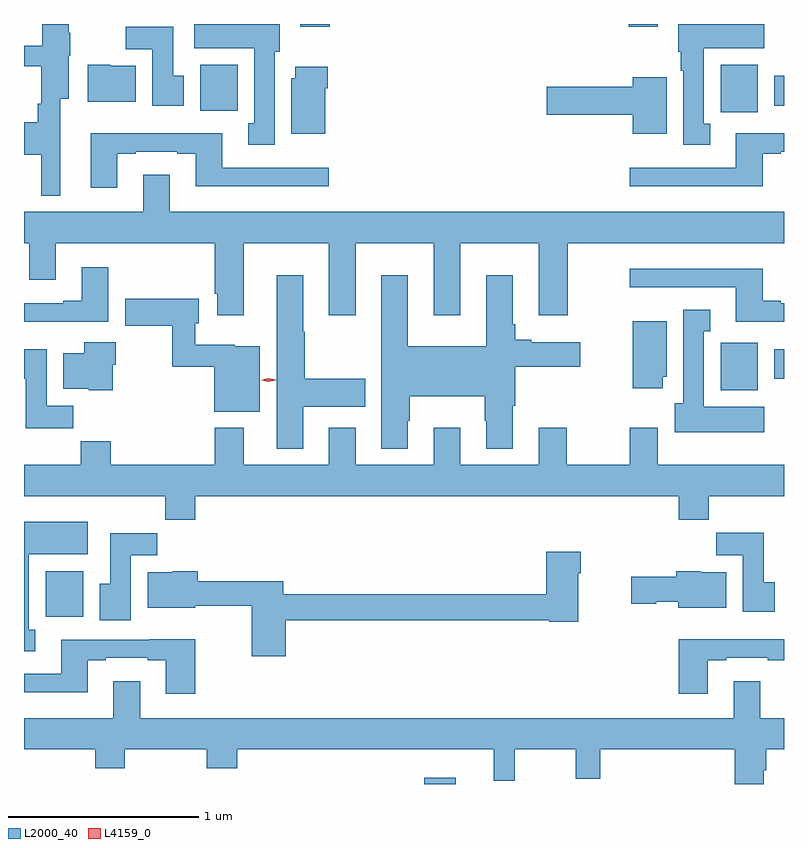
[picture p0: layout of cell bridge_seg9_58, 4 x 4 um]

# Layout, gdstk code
import gdstk
lib = gdstk.Library(unit=1e-6, precision=1e-09)
def R(c, l, rs):  # rectangles x0, y0, x1, y1
    for r in rs: c.add(gdstk.rectangle(r[:2], r[2:], *l))
def P(c, l, *ps):  # polygons
    for p in ps: c.add(gdstk.Polygon(p, *l))
L2000_40 = (2000, 40)
L4159_0 = (4159, 0)

bridge_seg9_58 = lib.new_cell('bridge_seg9_58')
R(bridge_seg9_58, L2000_40, [(1097.09,1209.557,1097.257,1209.589), (1095.098,1210.436,1095.295,1210.678), (1098.651,1211.63,1098.847,1211.88), (1098.932,1211.689,1098.984,1211.845), (1098.651,1213.092,1098.847,1213.342), (1095.911,1213.1,1096.108,1213.342), (1098.932,1213.128,1098.984,1213.284), (1096.439,1213.542,1096.592,1213.557), (1098.167,1213.542,1098.319,1213.557)])
P(bridge_seg9_58, L2000_40, [(1096.303,1213.41),(1096.33,1213.41),(1096.33,1213.557),(1095.879,1213.557),(1095.879,1213.43),(1096.196,1213.43),(1096.196,1213.034),(1096.163,1213.034),(1096.163,1212.921),(1096.303,1212.921)],
  [(1095.175,1213.163),(1095.22,1213.163),(1095.22,1213.389),(1095.228,1213.389),(1095.228,1213.511),(1095.22,1213.511),(1095.22,1213.557),(1095.08,1213.557),(1095.08,1213.443),(1094.984,1213.443),(1094.984,1213.335),(1095.074,1213.335),(1095.074,1213.138),(1095.057,1213.138),(1095.057,1213.041),(1094.984,1213.041),(1094.984,1212.869),(1095.074,1212.869),(1095.074,1212.653),(1095.175,1212.653)],
  [(1098.595,1213.033),(1098.562,1213.033),(1098.562,1213.43),(1098.88,1213.43),(1098.88,1213.557),(1098.428,1213.557),(1098.428,1213.41),(1098.44,1213.41),(1098.44,1213.31),(1098.455,1213.31),(1098.455,1212.921),(1098.595,1212.921)],
  [(1095.826,1213.284),(1095.769,1213.284),(1095.769,1213.543),(1095.52,1213.543),(1095.52,1213.424),(1095.659,1213.424),(1095.659,1213.128),(1095.826,1213.128)],
  [(1095.571,1213.336),(1095.438,1213.336),(1095.438,1213.342),(1095.32,1213.342),(1095.32,1213.148),(1095.571,1213.148)],
  [(1096.57,1213.22),(1096.583,1213.22),(1096.583,1213.333),(1096.412,1213.333),(1096.412,1213.272),(1096.391,1213.272),(1096.391,1212.98),(1096.57,1212.98)],
  [(1098.367,1213.276),(1098.188,1213.276),(1098.188,1213.226),(1097.736,1213.226),(1097.736,1213.079),(1098.188,1213.079),(1098.188,1212.98),(1098.367,1212.98)],
  [(1095.475,1212.873),(1095.571,1212.873),(1095.571,1212.885),(1095.791,1212.885),(1095.791,1212.873),(1095.887,1212.873),(1095.887,1212.704),(1096.588,1212.704),(1096.588,1212.801),(1096.027,1212.801),(1096.027,1212.982),(1095.335,1212.982),(1095.335,1212.696),(1095.475,1212.696)],
  [(1098.871,1212.873),(1098.967,1212.873),(1098.967,1212.885),(1098.984,1212.885),(1098.984,1212.982),(1098.731,1212.982),(1098.731,1212.801),(1098.171,1212.801),(1098.171,1212.704),(1098.871,1212.704)],
  [(1096.141,1212.404),(1096.589,1212.404),(1096.589,1212.024),(1096.729,1212.024),(1096.729,1212.404),(1097.141,1212.404),(1097.141,1212.024),(1097.281,1212.024),(1097.281,1212.404),(1097.693,1212.404),(1097.693,1212.024),(1097.846,1212.024),(1097.846,1212.404),(1098.984,1212.404),(1098.984,1212.568),(1095.751,1212.568),(1095.751,1212.763),(1095.611,1212.763),(1095.611,1212.568),(1094.984,1212.568),(1094.984,1212.404),(1095.011,1212.404),(1095.011,1212.21),(1095.151,1212.21),(1095.151,1212.404),(1095.989,1212.404),(1095.989,1212.136),(1096.001,1212.136),(1096.001,1212.024),(1096.141,1212.024)],
  [(1095.427,1212.277),(1095.287,1212.277),(1095.287,1212.1),(1095.191,1212.1),(1095.191,1212.087),(1094.984,1212.087),(1094.984,1211.99),(1095.427,1211.99)],
  [(1098.984,1212.087),(1098.967,1212.087),(1098.967,1212.1),(1098.871,1212.1),(1098.871,1212.268),(1098.171,1212.268),(1098.171,1212.171),(1098.731,1212.171),(1098.731,1211.99),(1098.984,1211.99)],
  [(1096.453,1211.543),(1096.78,1211.543),(1096.78,1211.691),(1096.461,1211.691),(1096.461,1211.936),(1096.453,1211.936),(1096.453,1212.235),(1096.313,1212.235),(1096.313,1211.322),(1096.453,1211.322)],
  [(1097.005,1211.468),(1097.013,1211.468),(1097.013,1211.597),(1097.41,1211.597),(1097.41,1211.468),(1097.417,1211.468),(1097.417,1211.322),(1097.557,1211.322),(1097.557,1211.549),(1097.57,1211.549),(1097.57,1211.752),(1097.911,1211.752),(1097.911,1211.881),(1097.653,1211.881),(1097.653,1211.894),(1097.57,1211.894),(1097.57,1211.977),(1097.557,1211.977),(1097.557,1212.235),(1097.417,1212.235),(1097.417,1211.86),(1097.005,1211.86),(1097.005,1212.235),(1096.865,1212.235),(1096.865,1211.322),(1097.005,1211.322)],
  [(1096.225,1211.86),(1096.092,1211.86),(1096.092,1211.869),(1095.886,1211.869),(1095.886,1211.981),(1095.904,1211.981),(1095.904,1212.111),(1095.516,1212.111),(1095.516,1211.969),(1095.765,1211.969),(1095.765,1211.752),(1095.986,1211.752),(1095.986,1211.516),(1096.225,1211.516)],
  [(1098.88,1211.542),(1098.562,1211.542),(1098.562,1211.939),(1098.595,1211.939),(1098.595,1212.052),(1098.455,1212.052),(1098.455,1211.562),(1098.41,1211.562),(1098.41,1211.408),(1098.88,1211.408)],
  [(1098.346,1211.7),(1098.367,1211.7),(1098.367,1211.992),(1098.188,1211.992),(1098.188,1211.64),(1098.346,1211.64)],
  [(1095.45,1211.763),(1095.468,1211.763),(1095.468,1211.881),(1095.302,1211.881),(1095.302,1211.824),(1095.191,1211.824),(1095.191,1211.636),(1095.324,1211.636),(1095.324,1211.63),(1095.45,1211.63)],
  [(1095.242,1211.548),(1095.103,1211.548),(1095.103,1211.845),(1094.984,1211.845),(1094.984,1211.689),(1094.993,1211.689),(1094.993,1211.43),(1095.242,1211.43)],
  [(1095.884,1211.072),(1098.431,1211.072),(1098.431,1210.948),(1098.587,1210.948),(1098.587,1211.072),(1098.984,1211.072),(1098.984,1211.236),(1098.319,1211.236),(1098.319,1211.431),(1098.172,1211.431),(1098.172,1211.236),(1097.841,1211.236),(1097.841,1211.431),(1097.693,1211.431),(1097.693,1211.236),(1097.281,1211.236),(1097.281,1211.431),(1097.141,1211.431),(1097.141,1211.236),(1096.729,1211.236),(1096.729,1211.431),(1096.589,1211.431),(1096.589,1211.236),(1096.141,1211.236),(1096.141,1211.431),(1095.989,1211.431),(1095.989,1211.236),(1095.44,1211.236),(1095.44,1211.36),(1095.283,1211.36),(1095.283,1211.236),(1094.984,1211.236),(1094.984,1211.072),(1095.727,1211.072),(1095.727,1210.948),(1095.884,1210.948)],
  [(1095.043,1210.37),(1095.01,1210.37),(1095.01,1210.766),(1095.319,1210.766),(1095.319,1210.936),(1094.984,1210.936),(1094.984,1210.257),(1095.043,1210.257)],
  [(1098.934,1210.62),(1098.877,1210.62),(1098.877,1210.879),(1098.628,1210.879),(1098.628,1210.76),(1098.767,1210.76),(1098.767,1210.464),(1098.934,1210.464)],
  [(1095.547,1210.76),(1095.686,1210.76),(1095.686,1210.878),(1095.437,1210.878),(1095.437,1210.612),(1095.383,1210.612),(1095.383,1210.419),(1095.547,1210.419)],
  [(1096.361,1210.42),(1097.748,1210.42),(1097.748,1210.412),(1097.902,1210.412),(1097.902,1210.667),(1097.915,1210.667),(1097.915,1210.78),(1097.732,1210.78),(1097.732,1210.556),(1096.348,1210.556),(1096.348,1210.624),(1095.899,1210.624),(1095.899,1210.678),(1095.768,1210.678),(1095.768,1210.672),(1095.635,1210.672),(1095.635,1210.484),(1095.886,1210.484),(1095.886,1210.495),(1096.183,1210.495),(1096.183,1210.23),(1096.361,1210.23)],
  [(1098.679,1210.672),(1098.546,1210.672),(1098.546,1210.678),(1098.416,1210.678),(1098.416,1210.647),(1098.18,1210.647),(1098.18,1210.505),(1098.312,1210.505),(1098.312,1210.517),(1098.428,1210.517),(1098.428,1210.484),(1098.679,1210.484)],
  [(1098.583,1210.209),(1098.679,1210.209),(1098.679,1210.221),(1098.899,1210.221),(1098.899,1210.209),(1098.984,1210.209),(1098.984,1210.318),(1098.431,1210.318),(1098.431,1210.032),(1098.583,1210.032)],
  [(1095.884,1210.318),(1095.643,1210.318),(1095.643,1210.317),(1095.179,1210.317),(1095.179,1210.137),(1094.984,1210.137),(1094.984,1210.04),(1095.319,1210.04),(1095.319,1210.209),(1095.415,1210.209),(1095.415,1210.221),(1095.635,1210.221),(1095.635,1210.209),(1095.731,1210.209),(1095.731,1210.032),(1095.884,1210.032)],
  [(1098.877,1209.629),(1098.89,1209.629),(1098.89,1209.74),(1098.984,1209.74),(1098.984,1209.904),(1098.859,1209.904),(1098.859,1210.099),(1098.719,1210.099),(1098.719,1209.904),(1095.595,1209.904),(1095.595,1210.099),(1095.455,1210.099),(1095.455,1209.904),(1094.984,1209.904),(1094.984,1209.74),(1095.358,1209.74),(1095.358,1209.641),(1095.513,1209.641),(1095.513,1209.74),(1095.946,1209.74),(1095.946,1209.641),(1096.106,1209.641),(1096.106,1209.74),(1097.456,1209.74),(1097.456,1209.573),(1097.566,1209.573),(1097.566,1209.74),(1097.889,1209.74),(1097.889,1209.585),(1098.017,1209.585),(1098.017,1209.74),(1098.725,1209.74),(1098.725,1209.557),(1098.877,1209.557)])
P(bridge_seg9_58, L4159_0, [(1096.27,1211.673),(1096.232,1211.683),(1096.231,1211.683),(1096.232,1211.683),(1096.27,1211.693),(1096.308,1211.684),(1096.308,1211.684),(1096.308,1211.683)])

lib.write_gds('bridge_seg9_58.gds')
